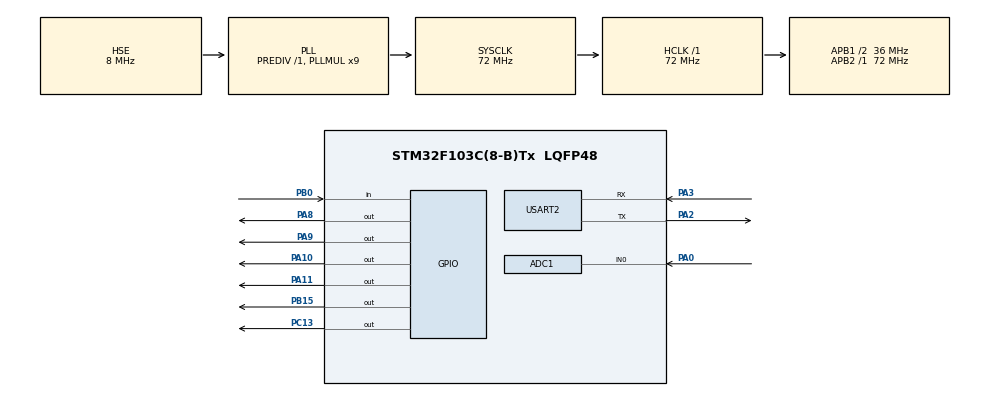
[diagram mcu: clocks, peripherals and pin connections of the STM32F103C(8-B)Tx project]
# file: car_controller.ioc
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ADC1.Channel-1\#ChannelRegularConversion=ADC_CHANNEL_0
ADC1.ContinuousConvMode=DISABLE
ADC1.ExternalTrigConv=ADC_EXTERNALTRIGCONV_T3_TRGO
ADC1.NbrOfConversionFlag=1
ADC1.Rank-1\#ChannelRegularConversion=1
ADC1.SamplingTime-1\#ChannelRegularConversion=ADC_SAMPLETIME_1CYCLE_5
ADC1.master=1
Mcu.Family=STM32F1
Mcu.Name=STM32F103C(8-B)Tx
Mcu.Package=LQFP48
NVIC.ADC1_2_IRQn=true\:0\:0\:false\:false\:true\:true\:true\:true
NVIC.PriorityGroup=NVIC_PRIORITYGROUP_4
NVIC.USART2_IRQn=true\:0\:0\:false\:false\:true\:true\:true\:true
PA0-WKUP.Signal=ADCx_IN0
PA1.Signal=ADCx_IN1
PA10.Signal=GPIO_Output
PA11.Signal=GPIO_Output
PA13.Mode=Serial_Wire
PA13.Signal=SYS_JTMS-SWDIO
PA14.Mode=Serial_Wire
PA14.Signal=SYS_JTCK-SWCLK
PA2.Mode=Asynchronous
PA2.Signal=USART2_TX
PA3.Mode=Asynchronous
PA3.Signal=USART2_RX
PA8.Signal=GPIO_Output
PA9.Signal=GPIO_Output
PB0.Signal=GPIO_Input
PB15.Signal=GPIO_Output
PC13-TAMPER-RTC.Signal=GPIO_Output
PD0-OSC_IN.Mode=HSE-External-Oscillator
PD0-OSC_IN.Signal=RCC_OSC_IN
PD1-OSC_OUT.Mode=HSE-External-Oscillator
PD1-OSC_OUT.Signal=RCC_OSC_OUT
ProjectManager.HeapSize=0x200
ProjectManager.StackSize=0x400
ProjectManager.TargetToolchain=STM32CubeIDE
RCC.ADCPresc=RCC_ADCPCLK2_DIV6
RCC.AHBFreq_Value=72000000
RCC.APB1CLKDivider=RCC_HCLK_DIV2
RCC.APB1Freq_Value=36000000
RCC.APB1TimFreq_Value=72000000
RCC.APB2Freq_Value=72000000
RCC.APB2TimFreq_Value=72000000
RCC.HCLKFreq_Value=72000000
RCC.PLLMUL=RCC_PLL_MUL9
RCC.PLLSourceVirtual=RCC_PLLSOURCE_HSE
RCC.SYSCLKFreq_VALUE=72000000
RCC.SYSCLKSource=RCC_SYSCLKSOURCE_PLLCLK
RCC.USBFreq_Value=72000000
SH.ADCx_IN0.0=ADC1_IN0,IN0
SH.ADCx_IN1.0=ADC1_IN1
TIM3.AutoReloadPreload=TIM_AUTORELOAD_PRELOAD_ENABLE
TIM3.Period=59999
TIM3.Prescaler=11
TIM3.TIM_MasterOutputTrigger=TIM_TRGO_UPDATE
USART2.VirtualMode=VM_ASYNC
VP_TIM3_VS_ClockSourceINT.Mode=Internal
board=custom

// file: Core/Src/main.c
/* USER CODE BEGIN Header */
/**
  ******************************************************************************
  * @file           : main.c
  * @brief          : Main program body
  ******************************************************************************
  * @attention
  *
  * Copyright (c) 2025 STMicroelectronics.
  * All rights reserved.
  *
  * This software is licensed under terms that can be found in the LICENSE file
  * in the root directory of this software component.
  * If no LICENSE file comes with this software, it is provided AS-IS.
  *
  ******************************************************************************
  */
/* USER CODE END Header */
#include "main.h"

/* USER CODE BEGIN Includes */
#include "motor.h"
#include "battery.h"
#include "stdbool.h"
#include "string.h"
/* USER CODE END Includes */

/* USER CODE BEGIN PD */
#define RX_BUFFER_LEN  	1
#define TX_BUFFER_LEN 	1
/* USER CODE END PD */

ADC_HandleTypeDef hadc1;

TIM_HandleTypeDef htim3;

UART_HandleTypeDef huart2;

/* USER CODE BEGIN PV */
uint8_t rx_buffer[RX_BUFFER_LEN] = {0};
uint8_t tx_buffer[TX_BUFFER_LEN] = {0};
bool is_paired;
uint16_t ADC_value;
uint16_t ADC_value_f;	//ADC value filtered from noise
uint8_t charge_percent;
uint8_t charge_old_percent;
/* USER CODE END PV */

void SystemClock_Config(void);
static void MX_GPIO_Init(void);
static void MX_USART2_UART_Init(void);
static void MX_ADC1_Init(void);
static void MX_TIM3_Init(void);

int main(void)
{

  /* MCU Configuration--------------------------------------------------------*/

  /* Reset of all peripherals, Initializes the Flash interface and the Systick. */
  HAL_Init();

  /* Configure the system clock */
  SystemClock_Config();

  /* Initialize all configured peripherals */
  MX_GPIO_Init();
  MX_USART2_UART_Init();
  MX_ADC1_Init();
  MX_TIM3_Init();
  /* USER CODE BEGIN 2 */
  HAL_UART_Receive_IT(&huart2, rx_buffer, RX_BUFFER_LEN);
  HAL_TIM_Base_Start(&htim3);
  HAL_ADC_Start_IT(&hadc1);
  /* USER CODE END 2 */

  /* Infinite loop */
  /* USER CODE BEGIN WHILE */
  while (1)
  {
	  is_paired = HAL_GPIO_ReadPin(GPIOB, GPIO_PIN_0);
	  if (is_paired) {
		  if ((char) rx_buffer[0] == 'F')			Move_Forward();
		  else if ((char) rx_buffer[0] == 'B')	Move_Backward();
		  else if ((char) rx_buffer[0] == 'H') 	Halt();
		  else if ((char) rx_buffer[0] == 'R')	Move_Right();
		  else if ((char) rx_buffer[0] == 'L') 	Move_Left();

		  if (charge_percent != charge_old_percent) {
			  charge_old_percent = charge_percent;

			  //memset((char *)tx_buffer, 0, TX_BUFFER_LEN);
			  //itoa(charge_percent,(char *) tx_buffer, 10);
			  //strcat((char *) tx_buffer, (char *)"\n");

			  HAL_UART_Transmit(&huart2, &charge_percent, TX_BUFFER_LEN, 1000);
		  }
	  } else {
		  Halt();
	  }

	  // Get the current battery charge level in percent (0–100%)
	  charge_percent = Get_Battery_Charge();

	  // If battery charge is below 20%, turn ON the LED (low battery warning)
	  if (charge_percent < 20) {
	      HAL_GPIO_WritePin(GPIOC, GPIO_PIN_13, GPIO_PIN_RESET);
	  } else {
	      HAL_GPIO_WritePin(GPIOC, GPIO_PIN_13, GPIO_PIN_SET);
	  }
    /* USER CODE END WHILE */

  }
}

void SystemClock_Config(void)
{
  RCC_OscInitTypeDef RCC_OscInitStruct = {0};
  RCC_ClkInitTypeDef RCC_ClkInitStruct = {0};
  RCC_PeriphCLKInitTypeDef PeriphClkInit = {0};

  /** Initializes the RCC Oscillators according to the specified parameters
  * in the RCC_OscInitTypeDef structure.
  */
  RCC_OscInitStruct.OscillatorType = RCC_OSCILLATORTYPE_HSE;
  RCC_OscInitStruct.HSEState = RCC_HSE_ON;
  RCC_OscInitStruct.HSEPredivValue = RCC_HSE_PREDIV_DIV1;
  RCC_OscInitStruct.HSIState = RCC_HSI_ON;
  RCC_OscInitStruct.PLL.PLLState = RCC_PLL_ON;
  RCC_OscInitStruct.PLL.PLLSource = RCC_PLLSOURCE_HSE;
  RCC_OscInitStruct.PLL.PLLMUL = RCC_PLL_MUL9;
  if (HAL_RCC_OscConfig(&RCC_OscInitStruct) != HAL_OK)
  {
    Error_Handler();
  }

  /** Initializes the CPU, AHB and APB buses clocks
  */
  RCC_ClkInitStruct.ClockType = RCC_CLOCKTYPE_HCLK|RCC_CLOCKTYPE_SYSCLK
                              |RCC_CLOCKTYPE_PCLK1|RCC_CLOCKTYPE_PCLK2;
  RCC_ClkInitStruct.SYSCLKSource = RCC_SYSCLKSOURCE_PLLCLK;
  RCC_ClkInitStruct.AHBCLKDivider = RCC_SYSCLK_DIV1;
  RCC_ClkInitStruct.APB1CLKDivider = RCC_HCLK_DIV2;
  RCC_ClkInitStruct.APB2CLKDivider = RCC_HCLK_DIV1;

  if (HAL_RCC_ClockConfig(&RCC_ClkInitStruct, FLASH_LATENCY_2) != HAL_OK)
  {
    Error_Handler();
  }
  PeriphClkInit.PeriphClockSelection = RCC_PERIPHCLK_ADC;
  PeriphClkInit.AdcClockSelection = RCC_ADCPCLK2_DIV6;
  if (HAL_RCCEx_PeriphCLKConfig(&PeriphClkInit) != HAL_OK)
  {
    Error_Handler();
  }
}

static void MX_ADC1_Init(void)
{

  ADC_ChannelConfTypeDef sConfig = {0};

  /** Common config
  */
  hadc1.Instance = ADC1;
  hadc1.Init.ScanConvMode = ADC_SCAN_DISABLE;
  hadc1.Init.ContinuousConvMode = DISABLE;
  hadc1.Init.DiscontinuousConvMode = DISABLE;
  hadc1.Init.ExternalTrigConv = ADC_EXTERNALTRIGCONV_T3_TRGO;
  hadc1.Init.DataAlign = ADC_DATAALIGN_RIGHT;
  hadc1.Init.NbrOfConversion = 1;
  if (HAL_ADC_Init(&hadc1) != HAL_OK)
  {
    Error_Handler();
  }

  /** Configure Regular Channel
  */
  sConfig.Channel = ADC_CHANNEL_0;
  sConfig.Rank = ADC_REGULAR_RANK_1;
  sConfig.SamplingTime = ADC_SAMPLETIME_1CYCLE_5;
  if (HAL_ADC_ConfigChannel(&hadc1, &sConfig) != HAL_OK)
  {
    Error_Handler();
  }

}

static void MX_TIM3_Init(void)
{

  TIM_ClockConfigTypeDef sClockSourceConfig = {0};
  TIM_MasterConfigTypeDef sMasterConfig = {0};

  htim3.Instance = TIM3;
  htim3.Init.Prescaler = 11;
  htim3.Init.CounterMode = TIM_COUNTERMODE_UP;
  htim3.Init.Period = 59999;
  htim3.Init.ClockDivision = TIM_CLOCKDIVISION_DIV1;
  htim3.Init.AutoReloadPreload = TIM_AUTORELOAD_PRELOAD_ENABLE;
  if (HAL_TIM_Base_Init(&htim3) != HAL_OK)
  {
    Error_Handler();
  }
  sClockSourceConfig.ClockSource = TIM_CLOCKSOURCE_INTERNAL;
  if (HAL_TIM_ConfigClockSource(&htim3, &sClockSourceConfig) != HAL_OK)
  {
    Error_Handler();
  }
  sMasterConfig.MasterOutputTrigger = TIM_TRGO_UPDATE;
  sMasterConfig.MasterSlaveMode = TIM_MASTERSLAVEMODE_DISABLE;
  if (HAL_TIMEx_MasterConfigSynchronization(&htim3, &sMasterConfig) != HAL_OK)
  {
    Error_Handler();
  }

}

static void MX_USART2_UART_Init(void)
{

  huart2.Instance = USART2;
  huart2.Init.BaudRate = 115200;
  huart2.Init.WordLength = UART_WORDLENGTH_8B;
  huart2.Init.StopBits = UART_STOPBITS_1;
  huart2.Init.Parity = UART_PARITY_NONE;
  huart2.Init.Mode = UART_MODE_TX_RX;
  huart2.Init.HwFlowCtl = UART_HWCONTROL_NONE;
  huart2.Init.OverSampling = UART_OVERSAMPLING_16;
  if (HAL_UART_Init(&huart2) != HAL_OK)
  {
    Error_Handler();
  }

}

static void MX_GPIO_Init(void)
{
  GPIO_InitTypeDef GPIO_InitStruct = {0};

  /* GPIO Ports Clock Enable */
  __HAL_RCC_GPIOC_CLK_ENABLE();
  __HAL_RCC_GPIOD_CLK_ENABLE();
  __HAL_RCC_GPIOA_CLK_ENABLE();
  __HAL_RCC_GPIOB_CLK_ENABLE();

  /*Configure GPIO pin Output Level */
  HAL_GPIO_WritePin(GPIOC, GPIO_PIN_13, GPIO_PIN_RESET);

  /*Configure GPIO pin Output Level */
  HAL_GPIO_WritePin(GPIOB, GPIO_PIN_15, GPIO_PIN_RESET);

  /*Configure GPIO pin Output Level */
  HAL_GPIO_WritePin(GPIOA, GPIO_PIN_8|GPIO_PIN_9|GPIO_PIN_10|GPIO_PIN_11, GPIO_PIN_RESET);

  /*Configure GPIO pin : PC13 */
  GPIO_InitStruct.Pin = GPIO_PIN_13;
  GPIO_InitStruct.Mode = GPIO_MODE_OUTPUT_PP;
  GPIO_InitStruct.Pull = GPIO_NOPULL;
  GPIO_InitStruct.Speed = GPIO_SPEED_FREQ_LOW;
  HAL_GPIO_Init(GPIOC, &GPIO_InitStruct);

  /*Configure GPIO pin : PB0 */
  GPIO_InitStruct.Pin = GPIO_PIN_0;
  GPIO_InitStruct.Mode = GPIO_MODE_INPUT;
  GPIO_InitStruct.Pull = GPIO_NOPULL;
  HAL_GPIO_Init(GPIOB, &GPIO_InitStruct);

  /*Configure GPIO pin : PB15 */
  GPIO_InitStruct.Pin = GPIO_PIN_15;
  GPIO_InitStruct.Mode = GPIO_MODE_OUTPUT_PP;
  GPIO_InitStruct.Pull = GPIO_NOPULL;
  GPIO_InitStruct.Speed = GPIO_SPEED_FREQ_LOW;
  HAL_GPIO_Init(GPIOB, &GPIO_InitStruct);

  /*Configure GPIO pins : PA8 PA9 PA10 PA11 */
  GPIO_InitStruct.Pin = GPIO_PIN_8|GPIO_PIN_9|GPIO_PIN_10|GPIO_PIN_11;
  GPIO_InitStruct.Mode = GPIO_MODE_OUTPUT_PP;
  GPIO_InitStruct.Pull = GPIO_NOPULL;
  GPIO_InitStruct.Speed = GPIO_SPEED_FREQ_LOW;
  HAL_GPIO_Init(GPIOA, &GPIO_InitStruct);

}

/* USER CODE BEGIN 4 */
void HAL_UART_RxCpltCallback(UART_HandleTypeDef *huart)
{
	if (huart->Instance == huart2.Instance) {
		HAL_UART_Receive_IT(&huart2, (uint8_t*)rx_buffer, RX_BUFFER_LEN);
	}
}

void HAL_ADC_ConvCpltCallback(ADC_HandleTypeDef* hadc)
{
    ADC_value = HAL_ADC_GetValue(&hadc1);
    if (hadc->Instance == hadc1.Instance)
    {
    	ADC_value = HAL_ADC_GetValue(hadc);
    	ADC_value_f = Filter_ADC(ADC_value);
    	//HAL_ADC_Start_IT(hadc);
    }
}
/* USER CODE END 4 */

void Error_Handler(void)
{
  __disable_irq();
  while (1)
  {
  }
}
